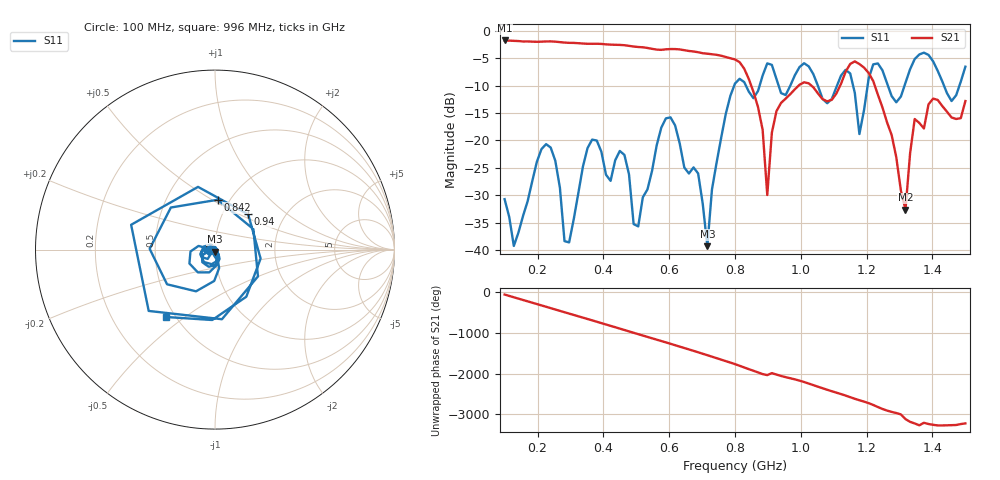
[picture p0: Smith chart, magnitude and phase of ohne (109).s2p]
! NanoVNA-App
! Date: 2025-09-25 17:39:08
! Start: 100MHz Stop: 1,5GHz Points: 101
! S-Parameter data: F S11 S21 S12 S22
# Hz S RI R 50
!  Frequency  S11_Real  S11_Imag  S21_Real  S21_Imag  S12_Real  S12_Imag  S22_Real  S22_Imag
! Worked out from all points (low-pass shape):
!   101 points, 100 MHz to 1.5 GHz, reference 50 ohm
!   highest |S21| = -1.80 dB at 100 MHz (marker M1); lowest = -32.6 dB at 1.318 GHz (marker M2)
!   |S21| within 3 dB of the highest: start of sweep to 771.3 MHz
!   lowest |S11| = -39.2 dB at 716 MHz (marker M3), VSWR 1.02, Z = 49.8 - j1.06 ohm
!   |S11| at or under -10 dB: start of sweep to 797.7 MHz; 833 MHz to 874.9 MHz (41.93 MHz wide, 4.91 % of centre); 1.052 GHz to 1.11 GHz (58.48 MHz wide, 5.41 % of centre)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
!   S12 and S22 are empty: the file has one direction only
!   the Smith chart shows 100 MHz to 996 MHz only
!   S11 on the Smith chart (normalised r, x): 100 MHz: 0.94, -0.01; 842 MHz: 0.88, +0.53; 940 MHz: 1.32, +0.56; 996 MHz: 0.44, -0.42
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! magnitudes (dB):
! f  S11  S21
! 100 MHz  -30.7  -1.8
! 128 MHz  -39.2  -1.9
! 226 MHz  -20.7  -2.0
! 296 MHz  -38.6  -2.2
! 338 MHz  -24.7  -2.4
! 464 MHz  -22.6  -2.7
! 506 MHz  -35.6  -3.0
! 576 MHz  -17.7  -3.5
! 688 MHz  -26.0  -3.9
! 716 MHz  -39.2  -4.2
! 800 MHz  -9.6  -5.3
! 842 MHz  -11.1  -8.8
! 898 MHz  -6.0  -29.9
! 940 MHz  -11.4  -13.2
! 996 MHz  -6.6  -9.9
! 1.038 GHz  -7.9  -10.3
! 1.178 GHz  -18.8  -6.1
! 1.22 GHz  -6.1  -9.2
! 1.276 GHz  -11.9  -19.0
! 1.318 GHz  -9.5  -32.6
! 1.346 GHz  -5.2  -16.1
! 1.5 GHz  -6.6  -12.8
